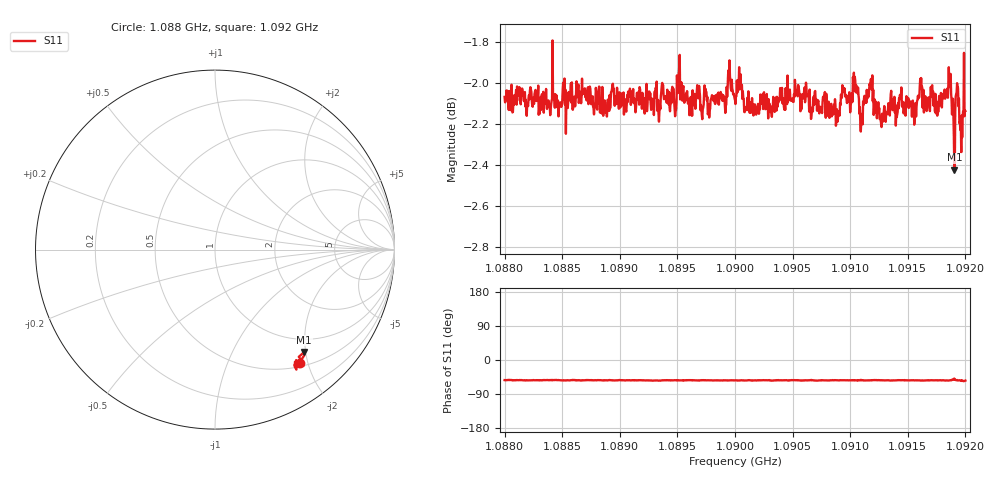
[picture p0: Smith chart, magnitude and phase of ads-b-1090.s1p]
! Calibrated averaged scanner-service zoom
# Hz S RI R 50
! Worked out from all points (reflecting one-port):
!   1001 points, 1.088 GHz to 1.092 GHz, reference 50 ohm
!   lowest |S11| = -2.4 dB at 1.0919 GHz (marker M1), VSWR 7.22, Z = 36.9 - j98.6 ohm
!   phase of S11 starts at -53 deg and turns -1 deg over the sweep
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1.088e9  0.4734 -0.63
1.0882e9  0.4633 -0.6334
1.088436e9  0.4746 -0.6232
1.0885e9  0.464 -0.6341
1.089e9  0.4725 -0.6258
1.089344e9  0.4573 -0.6344
1.0895e9  0.4662 -0.6406
1.089608e9  0.47 -0.6276
1.089676e9  0.4679 -0.6389
1.08972e9  0.4656 -0.629
1.09e9  0.4671 -0.6331
1.090172e9  0.4626 -0.634
1.09028e9  0.4664 -0.6286
1.090324e9  0.4555 -0.638
1.0905e9  0.4712 -0.6307
1.090716e9  0.4605 -0.6378
1.09086e9  0.4656 -0.6317
1.091e9  0.4627 -0.6296
1.091052e9  0.4716 -0.6379
1.091096e9  0.4713 -0.6184
1.091172e9  0.4716 -0.6376
1.091268e9  0.4618 -0.6242
1.0915e9  0.4663 -0.6324
1.091852e9  0.4646 -0.6431
1.091904e9  0.4967 -0.5707
1.091932e9  0.4701 -0.6373
1.091972e9  0.4512 -0.6245
1.092e9  0.4557 -0.6353
